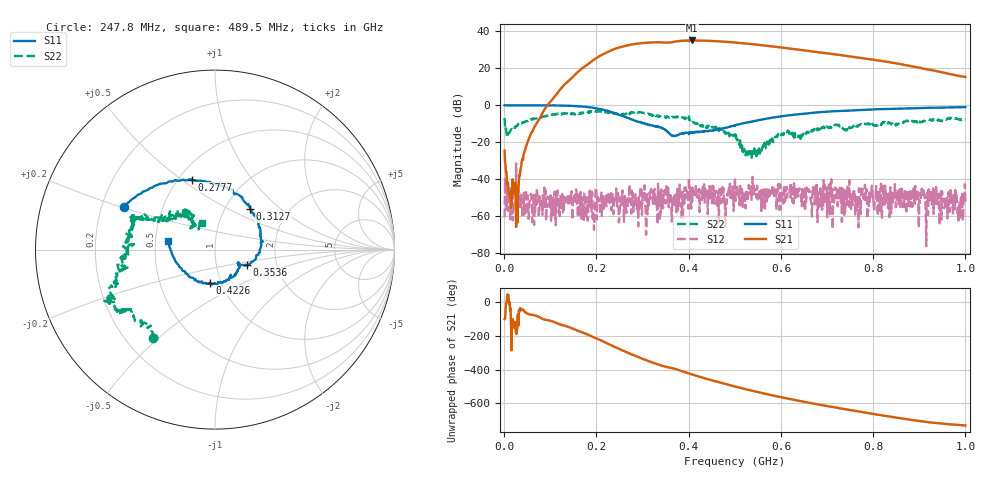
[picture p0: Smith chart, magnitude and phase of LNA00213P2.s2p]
! Created with skrf 1.9.0 (http://scikit-rf.org).
# Hz S RI R 50.0
!freq ReS11 ImS11 ReS21 ImS21 ReS12 ImS12 ReS22 ImS22
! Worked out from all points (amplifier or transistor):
!   1001 points, 1 MHz to 1 GHz, reference 50 ohm
!   highest |S21| = 35.1 dB at 406.6 MHz (marker M1)
!   |S21| within 3 dB of that: 262.1 MHz to 574.1 MHz (312 MHz wide, 74.6 % of centre)
!   unconditionally stable (mu >= 1): 1.557 MHz to 86.8 MHz; 295.8 MHz to 400.4 MHz; 400.9 MHz to end of sweep (the widest 3 of 26)
!   at 166.8 MHz: K = 1.59, MAG = 32.4 dB, |S12| = -54.3 dB
!   at 500.5 MHz: K = 1.14, MAG = 34.3 dB, |S12| = -39.3 dB
!   at 1 GHz: K = 6.13, MAG = 23.3 dB, |S12| = -53.0 dB
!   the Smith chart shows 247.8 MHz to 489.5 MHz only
!   S11 on the Smith chart (normalised r, x): 247.8 MHz: 0.29, +0.20; 277.7 MHz: 0.58, +0.55; 312.7 MHz: 1.31, +0.65; 353.6 MHz: 1.41, -0.26; 422.6 MHz: 0.88, -0.34; 489.5 MHz: 0.58, +0.06
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1000000  1.004 0.0163  -0.0103 -0.0586  0.000916 0.000212  0.2978 0.3428
1.08892e8  0.5039 -0.852  -0.7832 -1.494  0.003 -0.00247  0.4262 -0.38
1.67833e8  -0.2617 -0.8902  -9.683 -0.6122  -0.000748 -0.000206  0.0461 -0.6286
2.11789e8  -0.7035 -0.3271  -15.19 17.39  -0.00102 -9.94e-05  -0.1716 -0.6504
2.47753e8  -0.5069 0.2385  2.895 36.03  0.000957 -0.00289  -0.3442 -0.4952
2.77723e8  -0.1293 0.3899  29.07 33.8  -0.00248 0.00216  -0.5451 -0.3352
3.12688e8  0.1964 0.2262  48.56 9.527  -0.00166 -0.000963  -0.557 -0.193
3.34666e8  0.2544 0.04  49.71 -8.987  -0.00147 -0.00171  -0.5277 -0.0456
3.53647e8  0.1779 -0.0872  44.46 -21.14  0.0012 0.00557  -0.4991 0.0394
3.77623e8  0.1301 -0.0884  40.63 -35.99  0.00387 -0.000284  -0.4489 0.1964
4.06594e8  0.0553 -0.1791  21.4 -52.45  0.00119 0.00554  -0.2931 0.1805
4.22578e8  -0.0281 -0.1843  8.417 -55.54  0.0055 0.000333  -0.2669 0.175
4.53547e8  -0.1662 -0.1226  -14.82 -52.49  0.0063 -0.000413  -0.1516 0.2086
4.89511e8  -0.263 0.0461  -34.68 -37.44  0.00706 0.00523  -0.0713 0.1488
5.005e8  -0.2581 0.1078  -38.5 -31.86  0.000279 -0.0109  -0.1447 0.0795
5.4046e8  -0.1961 0.3136  -43.49 -9.799  0.007 -0.00364  -0.0242 0.0437
5.88412e8  0.00105 0.4791  -36.56 11.21  0.0034 -0.00202  -0.1123 -0.0814
6.67333e8  0.3847 0.4911  -14.27 24.67  -4.53e-05 0.000982  -0.1899 -0.035
7.53247e8  0.6694 0.283  4.138 20.23  -0.00142 0.00105  -0.2462 0.00494
8.34166e8  0.792 0.0163  10.98 9.864  -0.00215 -0.00345  -0.3413 -0.0216
9.13087e8  0.8116 -0.2573  9.448 1.637  -0.00263 0.00216  -0.3545 0.1154
1e9  0.7251 -0.522  5.709 -1.175  -0.002 0.000985  -0.3218 0.2608
